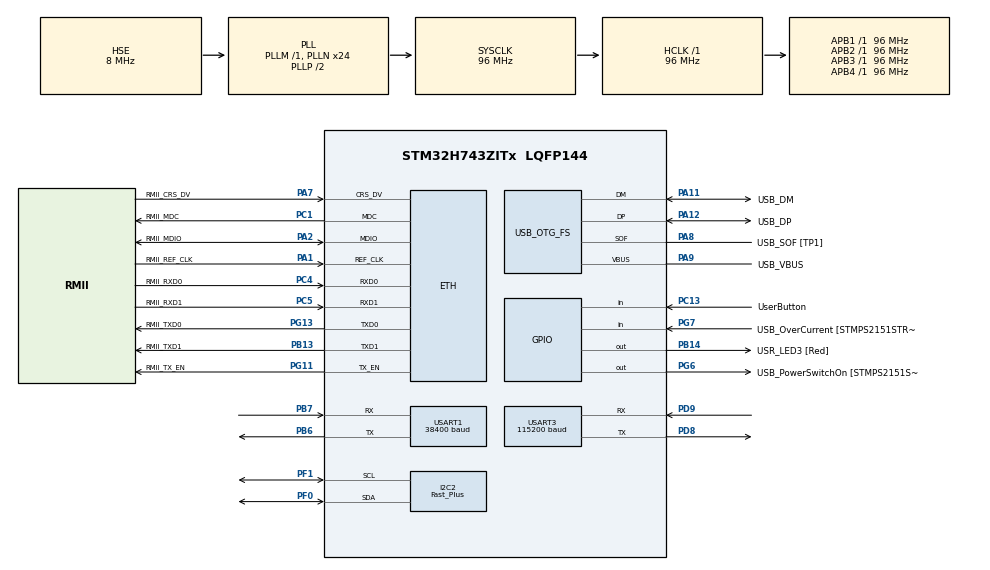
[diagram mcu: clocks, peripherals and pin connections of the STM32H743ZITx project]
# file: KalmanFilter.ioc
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Dma.Request0=USART1_RX
Dma.Request1=USART1_TX
Dma.USART1_RX.0.Direction=DMA_PERIPH_TO_MEMORY
Dma.USART1_RX.0.EventEnable=DISABLE
Dma.USART1_RX.0.FIFOMode=DMA_FIFOMODE_DISABLE
Dma.USART1_RX.0.Instance=DMA1_Stream0
Dma.USART1_RX.0.MemDataAlignment=DMA_MDATAALIGN_BYTE
Dma.USART1_RX.0.MemInc=DMA_MINC_ENABLE
Dma.USART1_RX.0.Mode=DMA_NORMAL
Dma.USART1_RX.0.PeriphDataAlignment=DMA_PDATAALIGN_BYTE
Dma.USART1_RX.0.PeriphInc=DMA_PINC_DISABLE
Dma.USART1_RX.0.Polarity=HAL_DMAMUX_REQ_GEN_RISING
Dma.USART1_RX.0.Priority=DMA_PRIORITY_LOW
Dma.USART1_RX.0.RequestNumber=1
Dma.USART1_RX.0.SignalID=NONE
Dma.USART1_RX.0.SyncEnable=DISABLE
Dma.USART1_RX.0.SyncPolarity=HAL_DMAMUX_SYNC_NO_EVENT
Dma.USART1_RX.0.SyncRequestNumber=1
Dma.USART1_RX.0.SyncSignalID=NONE
Dma.USART1_TX.1.Direction=DMA_MEMORY_TO_PERIPH
Dma.USART1_TX.1.EventEnable=DISABLE
Dma.USART1_TX.1.FIFOMode=DMA_FIFOMODE_DISABLE
Dma.USART1_TX.1.Instance=DMA1_Stream1
Dma.USART1_TX.1.MemDataAlignment=DMA_MDATAALIGN_BYTE
Dma.USART1_TX.1.MemInc=DMA_MINC_ENABLE
Dma.USART1_TX.1.Mode=DMA_NORMAL
Dma.USART1_TX.1.PeriphDataAlignment=DMA_PDATAALIGN_BYTE
Dma.USART1_TX.1.PeriphInc=DMA_PINC_DISABLE
Dma.USART1_TX.1.Polarity=HAL_DMAMUX_REQ_GEN_RISING
Dma.USART1_TX.1.Priority=DMA_PRIORITY_LOW
Dma.USART1_TX.1.RequestNumber=1
Dma.USART1_TX.1.SignalID=NONE
Dma.USART1_TX.1.SyncEnable=DISABLE
Dma.USART1_TX.1.SyncPolarity=HAL_DMAMUX_SYNC_NO_EVENT
Dma.USART1_TX.1.SyncRequestNumber=1
Dma.USART1_TX.1.SyncSignalID=NONE
ETH.MediaInterface=HAL_ETH_RMII_MODE
FREERTOS.BinarySemaphores01=GNNS_UART_INTERRUPT,Static,GNNS_UART_INTERRUPTControlBlock
FREERTOS.Tasks01=defaultTask,24,1024,StartDefaultTask,Default,NULL,Dynamic,NULL,NULL;AccMeassure,40,4096,StartAccMeassureTask,Default,NULL,Static,AccMeassureBuffer,AccMeassureControlBlock;ReceiveGNSSData,32,4096,StartReceiveGNSSDataTask,Default,NULL,Static,ReceiveGNSSDataBuffer,ReceiveGNSSDataControlBlock
FREERTOS.configUSE_PREEMPTION=0
I2C2.I2C_Speed_Mode=I2C_Fast_Plus
I2C2.Timing=0x0040163A
Mcu.Family=STM32H7
Mcu.Name=STM32H743ZITx
Mcu.Package=LQFP144
NVIC.DMA1_Stream0_IRQn=true\:5\:0\:false\:false\:true\:true\:false\:true\:true
NVIC.DMA1_Stream1_IRQn=true\:5\:0\:false\:false\:true\:true\:false\:true\:true
NVIC.PriorityGroup=NVIC_PRIORITYGROUP_4
NVIC.TIM17_IRQn=true\:15\:0\:false\:false\:true\:false\:false\:true\:true
NVIC.TimeBase=TIM17_IRQn
NVIC.TimeBaseIP=TIM17
NVIC.USART1_IRQn=true\:5\:0\:false\:false\:true\:true\:true\:true\:true
PA1.GPIO_Label=RMII_REF_CLK
PA1.Mode=RMII
PA1.Signal=ETH_REF_CLK
PA10.GPIO_Label=USB_ID
PA10.Signal=USB_OTG_FS_ID
PA11.GPIO_Label=USB_DM
PA11.Mode=Device_Only
PA11.Signal=USB_OTG_FS_DM
PA12.GPIO_Label=USB_DP
PA12.Mode=Device_Only
PA12.Signal=USB_OTG_FS_DP
PA13\ (JTMS/SWDIO).GPIO_Label=TMS
PA13\ (JTMS/SWDIO).Mode=Trace_Asynchronous_SW
PA13\ (JTMS/SWDIO).Signal=DEBUG_JTMS-SWDIO
PA14\ (JTCK/SWCLK).GPIO_Label=TCK
PA14\ (JTCK/SWCLK).Mode=Trace_Asynchronous_SW
PA14\ (JTCK/SWCLK).Signal=DEBUG_JTCK-SWCLK
PA2.GPIO_Label=RMII_MDIO
PA2.Mode=RMII
PA2.Signal=ETH_MDIO
PA7.GPIO_Label=RMII_CRS_DV
PA7.Mode=RMII
PA7.Signal=ETH_CRS_DV
PA8.GPIO_Label=USB_SOF [TP1]
PA8.Mode=Activate_SOF_FS
PA8.Signal=USB_OTG_FS_SOF
PA9.GPIO_Label=USB_VBUS
PA9.Mode=Activate_VBUS
PA9.Signal=USB_OTG_FS_VBUS
PB13.GPIO_Label=RMII_TXD1
PB13.Mode=RMII
PB13.Signal=ETH_TXD1
PB14.GPIO_Label=USR_LED3 [Red]
PB14.Signal=GPIO_Output
PB3\ (JTDO/TRACESWO).GPIO_Label=SWO
PB3\ (JTDO/TRACESWO).Mode=Trace_Asynchronous_SW
PB3\ (JTDO/TRACESWO).Signal=DEBUG_JTDO-SWO
PB6.Mode=Asynchronous
PB6.Signal=USART1_TX
PB7.Mode=Asynchronous
PB7.Signal=USART1_RX
PC1.GPIO_Label=RMII_MDC
PC1.Mode=RMII
PC1.Signal=ETH_MDC
PC13.GPIO_Label=UserButton
PC13.Signal=GPIO_Input
PC14-OSC32_IN\ (OSC32_IN).Mode=LSE-External-Oscillator
PC14-OSC32_IN\ (OSC32_IN).Signal=RCC_OSC32_IN
PC15-OSC32_OUT\ (OSC32_OUT).Mode=LSE-External-Oscillator
PC15-OSC32_OUT\ (OSC32_OUT).Signal=RCC_OSC32_OUT
PC4.GPIO_Label=RMII_RXD0
PC4.Mode=RMII
PC4.Signal=ETH_RXD0
PC5.GPIO_Label=RMII_RXD1
PC5.Mode=RMII
PC5.Signal=ETH_RXD1
PD8.Mode=Asynchronous
PD8.Signal=USART3_TX
PD9.Mode=Asynchronous
PD9.Signal=USART3_RX
PF0.Mode=I2C
PF0.Signal=I2C2_SDA
PF1.Mode=I2C
PF1.Signal=I2C2_SCL
PG11.GPIO_Label=RMII_TX_EN
PG11.Mode=RMII
PG11.Signal=ETH_TX_EN
PG13.GPIO_Label=RMII_TXD0
PG13.Mode=RMII
PG13.Signal=ETH_TXD0
PG6.GPIO_Label=USB_PowerSwitchOn [STMPS2151STR_EN]
PG6.Signal=GPIO_Output
PG7.GPIO_Label=USB_OverCurrent [STMPS2151STR_FAULT]
PG7.Signal=GPIO_Input
PH0-OSC_IN\ (PH0).GPIO_Label=MCO
PH0-OSC_IN\ (PH0).Mode=HSE-External-Clock-Source
PH0-OSC_IN\ (PH0).Signal=RCC_OSC_IN
PH1-OSC_OUT\ (PH1).Signal=RCC_OSC_OUT
ProjectManager.HeapSize=0x200
ProjectManager.StackSize=0x400
ProjectManager.TargetToolchain=STM32CubeIDE
RCC.48MHZClocksFreq_Value=24000000
RCC.ADCFreq_Value=16125000
RCC.AHBFreq_Value=216000000
RCC.APB1CLKDivider=RCC_HCLK_DIV4
RCC.APB1Freq_Value=96000000
RCC.APB1TimFreq_Value=108000000
RCC.APB2CLKDivider=RCC_HCLK_DIV2
RCC.APB2Freq_Value=96000000
RCC.APB2TimFreq_Value=216000000
RCC.APB3Freq_Value=96000000
RCC.APB4Freq_Value=96000000
RCC.CortexFreq_Value=96000000
RCC.DIVM1=1
RCC.DIVN1=24
RCC.DIVQ1=4
RCC.HCLKFreq_Value=96000000
RCC.HSE_VALUE=8000000
RCC.HSI_VALUE=64000000
RCC.PLLM=25
RCC.PLLMUL=RCC_PLL_MUL9
RCC.PLLN=432
RCC.PLLQ=9
RCC.PRESCALERUSB=RCC_USBCLKSOURCE_PLL_DIV1_5
RCC.PWR_Regulator_Voltage_Scale=PWR_REGULATOR_VOLTAGE_SCALE1
RCC.SYSCLKFreq_VALUE=96000000
RCC.SYSCLKSource=RCC_SYSCLKSOURCE_PLLCLK
RCC.SYSCLKSourceVirtual=RCC_SYSCLKSOURCE_PLLCLK
RCC.USBFreq_Value=48000000
RCC.VCOOutputFreq_Value=432000000
USART1.BaudRate=38400
USART1.VirtualMode-Asynchronous=VM_ASYNC
USART3.BaudRate=115200
USART3.VirtualMode-Asynchronous=VM_ASYNC
USART3.WordLength=WORDLENGTH_8B
USB_OTG_FS.VirtualMode=Device_Only
VP_FREERTOS_VS_CMSIS_V2.Mode=CMSIS_V2
VP_SYS_VS_tim17.Mode=TIM17
board=NUCLEO-H743ZI

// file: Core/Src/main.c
/* USER CODE BEGIN Header */
/**
  ******************************************************************************
  * @file           : main.c
  * @brief          : Main program body
  ******************************************************************************
  * @attention
  *
  * Copyright (c) 2024 STMicroelectronics.
  * All rights reserved.
  *
  * This software is licensed under terms that can be found in the LICENSE file
  * in the root directory of this software component.
  * If no LICENSE file comes with this software, it is provided AS-IS.
  *
  ******************************************************************************
  */
/* USER CODE END Header */
#include "main.h"
#include "cmsis_os.h"
#include "dma.h"
#include "eth.h"
#include "i2c.h"
#include "usart.h"
#include "usb_otg.h"
#include "gpio.h"

void SystemClock_Config(void);
void MX_FREERTOS_Init(void);

int main(void)
{

  /* MCU Configuration--------------------------------------------------------*/

  /* Reset of all peripherals, Initializes the Flash interface and the Systick. */
  HAL_Init();

  /* Configure the system clock */
  SystemClock_Config();

  /* Initialize all configured peripherals */
  MX_GPIO_Init();
  MX_DMA_Init();
  MX_USB_OTG_FS_PCD_Init();
  MX_I2C2_Init();
  MX_ETH_Init();
  MX_USART3_UART_Init();
  MX_USART1_UART_Init();

  /* Init scheduler */
  osKernelInitialize();  /* Call init function for freertos objects (in freertos.c) */
  MX_FREERTOS_Init();

  /* Start scheduler */
  osKernelStart();

  /* We should never get here as control is now taken by the scheduler */
  /* Infinite loop */
  while (1)
  {

  }
}

void SystemClock_Config(void)
{
  RCC_OscInitTypeDef RCC_OscInitStruct = {0};
  RCC_ClkInitTypeDef RCC_ClkInitStruct = {0};

  /** Supply configuration update enable
  */
  HAL_PWREx_ConfigSupply(PWR_LDO_SUPPLY);

  /** Configure the main internal regulator output voltage
  */
  __HAL_PWR_VOLTAGESCALING_CONFIG(PWR_REGULATOR_VOLTAGE_SCALE1);

  while(!__HAL_PWR_GET_FLAG(PWR_FLAG_VOSRDY)) {}

  /** Initializes the RCC Oscillators according to the specified parameters
  * in the RCC_OscInitTypeDef structure.
  */
  RCC_OscInitStruct.OscillatorType = RCC_OSCILLATORTYPE_HSE;
  RCC_OscInitStruct.HSEState = RCC_HSE_BYPASS;
  RCC_OscInitStruct.PLL.PLLState = RCC_PLL_ON;
  RCC_OscInitStruct.PLL.PLLSource = RCC_PLLSOURCE_HSE;
  RCC_OscInitStruct.PLL.PLLM = 1;
  RCC_OscInitStruct.PLL.PLLN = 24;
  RCC_OscInitStruct.PLL.PLLP = 2;
  RCC_OscInitStruct.PLL.PLLQ = 4;
  RCC_OscInitStruct.PLL.PLLR = 2;
  RCC_OscInitStruct.PLL.PLLRGE = RCC_PLL1VCIRANGE_3;
  RCC_OscInitStruct.PLL.PLLVCOSEL = RCC_PLL1VCOWIDE;
  RCC_OscInitStruct.PLL.PLLFRACN = 0;
  if (HAL_RCC_OscConfig(&RCC_OscInitStruct) != HAL_OK)
  {
    Error_Handler();
  }

  /** Initializes the CPU, AHB and APB buses clocks
  */
  RCC_ClkInitStruct.ClockType = RCC_CLOCKTYPE_HCLK|RCC_CLOCKTYPE_SYSCLK
                              |RCC_CLOCKTYPE_PCLK1|RCC_CLOCKTYPE_PCLK2
                              |RCC_CLOCKTYPE_D3PCLK1|RCC_CLOCKTYPE_D1PCLK1;
  RCC_ClkInitStruct.SYSCLKSource = RCC_SYSCLKSOURCE_PLLCLK;
  RCC_ClkInitStruct.SYSCLKDivider = RCC_SYSCLK_DIV1;
  RCC_ClkInitStruct.AHBCLKDivider = RCC_HCLK_DIV1;
  RCC_ClkInitStruct.APB3CLKDivider = RCC_APB3_DIV1;
  RCC_ClkInitStruct.APB1CLKDivider = RCC_APB1_DIV1;
  RCC_ClkInitStruct.APB2CLKDivider = RCC_APB2_DIV1;
  RCC_ClkInitStruct.APB4CLKDivider = RCC_APB4_DIV1;

  if (HAL_RCC_ClockConfig(&RCC_ClkInitStruct, FLASH_LATENCY_1) != HAL_OK)
  {
    Error_Handler();
  }
}

void HAL_TIM_PeriodElapsedCallback(TIM_HandleTypeDef *htim)
{
  if (htim->Instance == TIM17) {
    HAL_IncTick();
  }
}

void Error_Handler(void)
{
  __disable_irq();
  while (1)
  {
  }
}

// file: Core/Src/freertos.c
/* USER CODE BEGIN Header */
/**
  ******************************************************************************
  * File Name          : freertos.c
  * Description        : Code for freertos applications
  ******************************************************************************
  * @attention
  *
  * Copyright (c) 2024 STMicroelectronics.
  * All rights reserved.
  *
  * This software is licensed under terms that can be found in the LICENSE file
  * in the root directory of this software component.
  * If no LICENSE file comes with this software, it is provided AS-IS.
  *
  ******************************************************************************
  */
/* USER CODE END Header */

#include "FreeRTOS.h"
#include "task.h"
#include "main.h"
#include "cmsis_os.h"

/* USER CODE BEGIN Includes */
#include "logger.h"
#include "usart.h"
#include "semphr.h"

#include "../../Peripherals/BMX160/inc/DFRobot_BMX160.h"
#include "../../Peripherals/simpleRTK2B/GNSS.h"
#include "LibAPI.h"
#include "../../Lib/Util/Algorithms/MadgwickOriginal.h"

/* USER CODE END Includes */

typedef StaticTask_t osStaticThreadDef_t;
typedef StaticSemaphore_t osStaticSemaphoreDef_t;

/* USER CODE BEGIN Variables */
sBmx160SensorData_t Omagn;
sBmx160SensorData_t Oaccel;
sBmx160SensorData_t Ogyro;
AGMSensorData SensorData;

sBmx160SensorData_t MeanGyro = {0.0f, 0.0f, 0.0f, 0};
float meanAlpha = 0.1;
int MaxSteps = 250;
int currStep = 0;
volatile int inter_flag = 0;
volatile int INTERRUPTS = 0;
BaseType_t GiveSemaphoreResult = 0;

HAL_StatusTypeDef uart_result;
/* USER CODE END Variables */
/* Definitions for defaultTask */
osThreadId_t defaultTaskHandle;
const osThreadAttr_t defaultTask_attributes = {
  .name = "defaultTask",
  .stack_size = 1024 * 4,
  .priority = (osPriority_t) osPriorityNormal,
};
/* Definitions for AccMeassure */
osThreadId_t AccMeassureHandle;
uint32_t AccMeassureBuffer[ 4096 ];
osStaticThreadDef_t AccMeassureControlBlock;
const osThreadAttr_t AccMeassure_attributes = {
  .name = "AccMeassure",
  .cb_mem = &AccMeassureControlBlock,
  .cb_size = sizeof(AccMeassureControlBlock),
  .stack_mem = &AccMeassureBuffer[0],
  .stack_size = sizeof(AccMeassureBuffer),
  .priority = (osPriority_t) osPriorityHigh,
};
/* Definitions for ReceiveGNSSData */
osThreadId_t ReceiveGNSSDataHandle;
uint32_t ReceiveGNSSDataBuffer[ 4096 ];
osStaticThreadDef_t ReceiveGNSSDataControlBlock;
const osThreadAttr_t ReceiveGNSSData_attributes = {
  .name = "ReceiveGNSSData",
  .cb_mem = &ReceiveGNSSDataControlBlock,
  .cb_size = sizeof(ReceiveGNSSDataControlBlock),
  .stack_mem = &ReceiveGNSSDataBuffer[0],
  .stack_size = sizeof(ReceiveGNSSDataBuffer),
  .priority = (osPriority_t) osPriorityAboveNormal,
};
/* Definitions for GNNS_UART_INTERRUPT */
osSemaphoreId_t GNNS_UART_INTERRUPTHandle;
osStaticSemaphoreDef_t GNNS_UART_INTERRUPTControlBlock;
const osSemaphoreAttr_t GNNS_UART_INTERRUPT_attributes = {
  .name = "GNNS_UART_INTERRUPT",
  .cb_mem = &GNNS_UART_INTERRUPTControlBlock,
  .cb_size = sizeof(GNNS_UART_INTERRUPTControlBlock),
};

/* USER CODE BEGIN FunctionPrototypes */
//void GetGNSS()
//{
//	GNSS_GetUniqID(&GNSS_Handle);
//	GNSS_ParseBuffer(&GNSS_Handle);
//	osDelay(250);
//	GNSS_GetPVTData(&GNSS_Handle);
//	GNSS_ParseBuffer(&GNSS_Handle);
//	LOG("Buffer: %d", GNSS_Handle.uartWorkingBuffer[0]);
//	LOG("Day: %d-%d-%d \r\n", GNSS_Handle.day, GNSS_Handle.month,GNSS_Handle.year);
//	LOG("Time: %d:%d:%d \r\n", GNSS_Handle.hour, GNSS_Handle.min,GNSS_Handle.sec);
//	LOG("Status of fix: %d \r\n", GNSS_Handle.fixType);
//	LOG("Latitude: %f \r\n", GNSS_Handle.fLat);
//	LOG("Longitude: %f \r\n",(float) GNSS_Handle.lon / 10000000.0);
//	LOG("Height above ellipsoid: %d \r\n", GNSS_Handle.height);
//	LOG("Height above mean sea level: %d \r\n", GNSS_Handle.hMSL);
//	LOG("Ground Speed (2-D): %d \r\n", GNSS_Handle.gSpeed);
//	LOG("Unique ID: %04X %04X %04X %04X %04X %04X\n\r",
//	GNSS_Handle.uniqueID[0], GNSS_Handle.uniqueID[1],
//	GNSS_Handle.uniqueID[2], GNSS_Handle.uniqueID[3],
//	GNSS_Handle.uniqueID[4], GNSS_Handle.uniqueID[5]);
//}

void DelayFunction(uint16_t ms)
{
	osDelay(ms);
}

void HAL_UART_RxCpltCallback(UART_HandleTypeDef *huart)
{

	inter_flag = 0;
	++INTERRUPTS;
	//HAL_UART_Receive_DMA(&huart2, GNSS_Handle.uartWorkingBuffer, 10);
	//xTaskResumeFromISR(ReceiveGNSSDataHandle);
	xSemaphoreGiveFromISR(GNNS_UART_INTERRUPTHandle, &GiveSemaphoreResult);
}

void HAL_UARTEx_RxEventCallback(UART_HandleTypeDef *huart, uint16_t Size)
{
	if(huart->Instance == USART1)
	{
		inter_flag = Size;
		++INTERRUPTS;
		xSemaphoreGiveFromISR(GNNS_UART_INTERRUPTHandle, &GiveSemaphoreResult);
	}
}

void Receive_IT()
{
	uart_result = HAL_UART_Receive_IT(GNSS_Handle.huart, GNSS_Handle.uartWorkingBuffer, 421);
	if(uart_result != 0) LOG("Receive_IT Status: %d", uart_result);
}

void Receive_IT_IDLE()
{
	uart_result = HAL_UARTEx_ReceiveToIdle_IT(GNSS_Handle.huart, GNSS_Handle.uartWorkingBuffer, sizeof(GNSS_Handle.uartWorkingBuffer));
	if(uart_result != 0) LOG("Receive_IT_IDLE Status: %d", uart_result);
}

void AskPvtReceive_IT_IDLE()
{
	LOG("Send PVT querry");
	uart_result = HAL_UART_Transmit(GNSS_Handle.huart, getPVTData, sizeof(getPVTData) / sizeof(uint8_t), 500);
	if(uart_result != 0) LOG("HAL_UART_Transmit Status: %d", uart_result);
	LOG("Waiting for response");
	uart_result = HAL_UARTEx_ReceiveToIdle_IT(GNSS_Handle.huart, GNSS_Handle.uartWorkingBuffer, 100);
	if(uart_result != 0) LOG("Receive_IT_IDLE Status: %d", uart_result);
}

void Receive_DMA()
{
	uart_result = HAL_UART_Receive_DMA(GNSS_Handle.huart, GNSS_Handle.uartWorkingBuffer, 10);
	if(uart_result != 0) LOG("Receive_DMA Status: %d", uart_result);
}

void Receive_DMA_IDLE()
{
	uart_result = 	HAL_UARTEx_ReceiveToIdle_DMA(GNSS_Handle.huart, GNSS_Handle.uartWorkingBuffer, 10);
	if(uart_result != 0) LOG("Receive_DMA_IDLE Status: %d", uart_result);
}

void Ask_For_PVT()
{
	uart_result = HAL_UART_Transmit(GNSS_Handle.huart, getPVTData, sizeof(getPVTData) / sizeof(uint8_t), 500);
	if(uart_result != 0) LOG("HAL_UART_Transmit Status: %d", uart_result);
}
/* USER CODE END FunctionPrototypes */

void StartDefaultTask(void *argument);
void StartAccMeassureTask(void *argument);
void StartReceiveGNSSDataTask(void *argument);

void MX_FREERTOS_Init(void); /* (MISRA C 2004 rule 8.1) */

void MX_FREERTOS_Init(void) {
  /* USER CODE BEGIN Init */
//		Bmx160_init();
	LOG("BMX INIT");
  /* USER CODE END Init */

  /* Create the semaphores(s) */
  /* creation of GNNS_UART_INTERRUPT */
  GNNS_UART_INTERRUPTHandle = osSemaphoreNew(1, 1, &GNNS_UART_INTERRUPT_attributes);

  /* Create the thread(s) */
  /* creation of defaultTask */
  defaultTaskHandle = osThreadNew(StartDefaultTask, NULL, &defaultTask_attributes);

  /* creation of AccMeassure */
  AccMeassureHandle = osThreadNew(StartAccMeassureTask, NULL, &AccMeassure_attributes);

  /* creation of ReceiveGNSSData */
  ReceiveGNSSDataHandle = osThreadNew(StartReceiveGNSSDataTask, NULL, &ReceiveGNSSData_attributes);

}

void StartDefaultTask(void *argument)
{
  /* USER CODE BEGIN StartDefaultTask */
	Vec3 Pos, Acc, Vel;
	int flag = 0;
  /* Infinite loop */
  for(;;)
  {
	if(HAL_GPIO_ReadPin(UserButton_GPIO_Port, UserButton_Pin))
	{
		LOG("PUSHED BUTTON");
		//GNSS_GetUniqID(&GNSS_Handle);
		if(flag == 0)
		{
			LOG("Receive DMA");
			Receive_DMA();
			flag = 1;
		}
		else
		{
			LOG("Receive IT");
			Receive_IT();
			flag = 0;
		}
		//ResetKinematics();
		//LOG("RESET STATE!!!!");
//		float mx = 0.0f;
//		float my = 0.0f;
//		float mz = 0.0f;
//		for(int i = 0; i < 1000; ++i)
//		{
//			Bmx160_getAllData(&Omagn, &Ogyro, &Oaccel);
//			mx += Oaccel.x;
//			my += Oaccel.y;
//			mz += Oaccel.z;
//			osDelay(1);
//		}
//		mx = mx / 1000.0f;
//		my = my / 1000.0f;
//		mz = mz / 1000.0f;
//		int imx = 0;
//		int imy = 0;
//		int imz = 0;
//		imx = mx * 1000.0f;
//		imy = my * 1000.0f;
//		imz = mz * 1000.0f;
//		//printf("Raw:0,0,0,0,0,0,%d,%d,%d\n\r", imx, imy, imz);
//		printf("%f %f %f\n\r", mx, my, mz);
	}
//	Pos = GetPosition();
//	Acc = GetAcceleration();
//	Vel = GetVelocity();
	//LOG("Vel: %f, \t%f, \t%f\tPos: %f, \t%f, \t%f", Vel.x, Vel.y, Vel.z, Pos.x, Pos.y, Pos.z);
	//LOG("INTERRUPTS: %d, inter_flag: %d, UART state: %d", INTERRUPTS, inter_flag, GNSS_Handle.huart->RxState);
	//GNSS_GetPVTData(&GNSS_Handle);
	//GNSS_GetPVTData(&GNSS_Handle);
    osDelay(1000);
  }
  /* USER CODE END StartDefaultTask */
}

void StartAccMeassureTask(void *argument)
{
  /* USER CODE BEGIN StartAccMeassureTask */
  /* Infinite loop */
	Bmx160_init();
	LOG("After INIT");
	osDelay(3000);
	Bmx160_getAllData(&Omagn, &Ogyro, &Oaccel);
	SensorData.Acc.x = Oaccel.x;
	SensorData.Acc.y = Oaccel.y;
	SensorData.Acc.z = Oaccel.z;
	SensorData.Gyro.x = Ogyro.x;
	SensorData.Gyro.y = Ogyro.y;
	SensorData.Gyro.z = Ogyro.z;
	SensorData.Mag.x = Omagn.x;
	SensorData.Mag.y = Omagn.y;
	SensorData.Mag.z = Omagn.z;
	SensorData.SensorTime = Omagn.sensortime;
	InitAlgorithms(&SensorData);
  for(;;)
  {
	//GetGNSS();
	//GNSS_GetUniqID(&GNSS_Handle);
	//GNSS_GetPVTData(&GNSS_Handle);
//	if(HAL_GPIO_ReadPin(UserButton_GPIO_Port, UserButton_Pin))
//	{
//		for(int i = 0; i < steps; ++i)
//		{
//			Bmx160_getAllData(&Omagn, &Ogyro, &Oaccel);
//			sum_x += Oaccel.x;
//			sum_y += Oaccel.y;
//			sum_z += Oaccel.z;
//			osDelay(5);
//		}
//		printf("%f %f %f\n\r", (sum_x/((float)(steps))), (sum_y/((float)(steps))), (sum_z/((float)(steps))));
//		sum_x = 0.0f; sum_y = 0.0f; sum_z = 0.0f;
//	}
	Bmx160_getAllData(&Omagn, &Ogyro, &Oaccel);
	SensorData.Acc.x = Oaccel.x;
	SensorData.Acc.y = Oaccel.y;
	SensorData.Acc.z = Oaccel.z;
	SensorData.Gyro.x = Ogyro.x;
	SensorData.Gyro.y = Ogyro.y;
	SensorData.Gyro.z = Ogyro.z;
	SensorData.Mag.x = Omagn.x;
	SensorData.Mag.y = Omagn.y;
	SensorData.Mag.z = Omagn.z;
	SensorData.SensorTime = Omagn.sensortime;
	MadgwickUpdate(&SensorData);
//
//	x = x*(1.0f - step) + step*(Omagn.x);
//	y = y*(1.0f - step) + step*(Omagn.y);
//	z = z*(1.0f - step) + step*(Omagn.z);
//	LOG("MAG: x: %f,\t y: %f,\t z: %f,\t L: %f", x, y, z, sqrt(x*x + y*y + z*z));
//	int mx = 0;
//	int my = 0;
//	int mz = 0;
//	mx = Omagn.x * 10.0f;
//	my = Omagn.y * 10.0f;
//	mz = Omagn.z * 10.0f;
//	//LOG("Raw:0,0,0,0,0,0,%d,%d,%d\n\r", mx, my, mz);
//	LOG("Raw:%f,%f,%f,%f,%f,%f,%f,%f,%f\n\r",
//			SensorData.Acc.x, SensorData.Acc.y, SensorData.Acc.z,
//			SensorData.Gyro.x, SensorData.Gyro.y, SensorData.Gyro.z,
//			SensorData.Mag.x, SensorData.Mag.y, SensorData.Mag.z);
	osDelay(1);

  }
  /* USER CODE END StartAccMeassureTask */
}

void StartReceiveGNSSDataTask(void *argument)
{
  /* USER CODE BEGIN StartReceiveGNSSDataTask */
  /* Infinite loop */
	osDelay(15000);
	LOG("GNSS INIT");
	GNSS_Init(&GNSS_Handle, &huart1, DelayFunction);
	osDelay(100);
	LOG("GNSS LOAD CONFIG");
	//GNSS_LoadConfig(&GNSS_Handle);
	LOG("GNSS CONFIG LOADED!!!");
	xSemaphoreTake(GNNS_UART_INTERRUPTHandle, portMAX_DELAY);
  for(;;)
  {
	HAL_UART_Transmit_DMA(GNSS_Handle.huart, getPVTData,
			sizeof(getPVTData) / sizeof(uint8_t));
    Receive_IT_IDLE();
	//AskPvtReceive_IT_IDLE();
	LOG("Waiting for semaphore...");
	xSemaphoreTake(GNNS_UART_INTERRUPTHandle, portTICK_PERIOD_MS*3000);
	LOG("Got into loop, no.%d", INTERRUPTS);
	if(inter_flag == 0)
	{
		LOG("NORMAL GNSS INTERRUPT[%d]!!!", INTERRUPTS);
	}
	else
	{
		LOG("IDLE GNSS INTERRUPT[%d], SIZE: %d", INTERRUPTS, inter_flag);
	}

//	printf("\n\n");
//	uint16_t sizeofTable = inter_flag == 0 ? sizeof(GNSS_Handle.uartWorkingBuffer) : inter_flag;
//	for(uint16_t size = 0; size < sizeofTable; ++size)
//		printf("%x ", GNSS_Handle.uartWorkingBuffer[size]);
//	printf("\n\n\r");
    //printf("%s \n\r", GNSS_Handle.uartWorkingBuffer);
	//GNSS_ParsePVTData(&GNSS_Handle);
	GNSS_ParsePVTDataPTR(&GNSS_Handle);
		LOG("Buffer: %d", GNSS_Handle.uartWorkingBuffer[0]);
		LOG("Day: %d-%d-%d \r\n", GNSS_Handle.day, GNSS_Handle.month,GNSS_Handle.year);
		LOG("Time: %d:%d:%d \r\n", GNSS_Handle.hour, GNSS_Handle.min,GNSS_Handle.sec);
		LOG("Status of fix: %d \r\n", GNSS_Handle.fixType);
		LOG("Latitude: %f \r\n", GNSS_Handle.fLat);
		LOG("Longitude: %f \r\n",GNSS_Handle.fLon);
		LOG("Height above ellipsoid: %d \r\n", GNSS_Handle.height);
		LOG("Height above mean sea level: %d \r\n", GNSS_Handle.hMSL);
		LOG("Ground Speed (2-D): %d \r\n", GNSS_Handle.gSpeed);
		//LOG("VelN: %d,\t VelE: %d,\t VelD: %d", GNSS_Handle.velN, GNSS_Handle.velE, GNSS_Handle.velD);
		LOG("");
	OnGNSSData(&GNSS_Handle);
  }
  /* USER CODE END StartReceiveGNSSDataTask */
}
